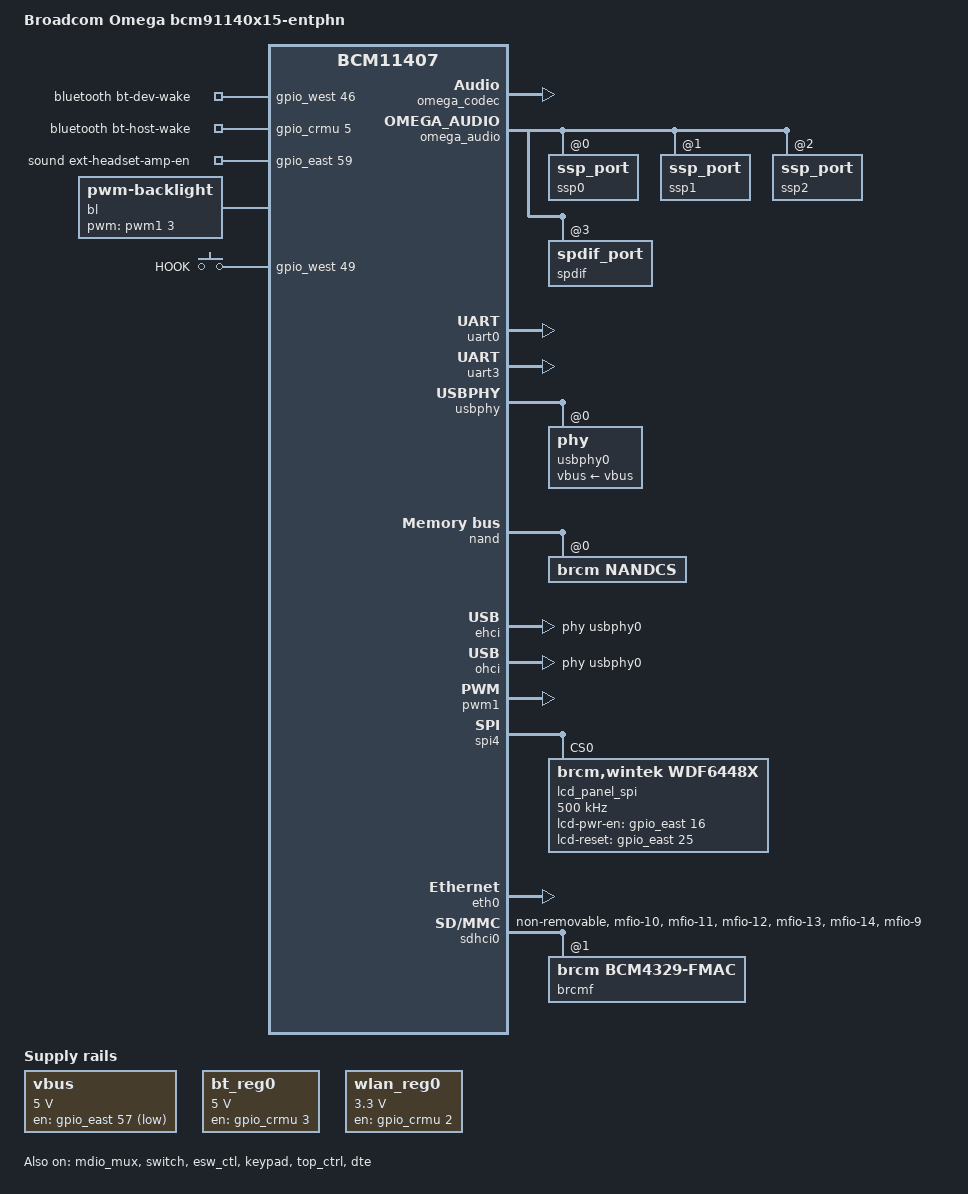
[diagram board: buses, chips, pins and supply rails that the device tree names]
// SPDX-License-Identifier: (GPL-2.0 or BSD-3-Clause)
/*
 *  Copyright(c) 2018 Broadcom
 */

/dts-v1/;

#include "omega-base-board.dtsi"
#include "bcm11407.dtsi"
#include "dt-bindings/input/input.h"
#include "dt-bindings/pwm/pwm.h"
#include "wintek-lcd-panel.dtsi"

/ {
	model = "Broadcom Omega bcm91140x15-entphn";

	vbus: regulator@0 {
		compatible = "regulator-fixed";
		regulator-name = "usb-vbus-p0";
		regulator-min-microvolt = <5000000>;
		regulator-max-microvolt = <5000000>;
		gpio = <&gpio_east 57 0>;
		status = "okay";
	};

	bt_reg0: regulator@1 {
		compatible = "regulator-fixed";
		regulator-name = "bt-reg0";
		regulator-min-microvolt = <5000000>;
		regulator-max-microvolt = <5000000>;
		gpio = <&gpio_crmu 3 0>;
		enable-active-high;
	};

	wlan_reg0: regulator@2 {
		compatible = "regulator-fixed";
		regulator-name = "wlan-rf-reg0";
		regulator-min-microvolt = <3300000>;
		regulator-max-microvolt = <3300000>;
		gpio = <&gpio_crmu 2 0>;
		enable-active-high;
		regulator-always-on;
	};

	bluetooth {
		compatible = "brcm,bt-rfkill";
		brcm,rfkill-regulator = <&bt_reg0>;
		bt-dev-wake-gpio = <&gpio_west 46 0>;
		bt-host-wake-gpio = <&gpio_crmu 5 0>;
	};

	sound {
		compatible = "brcm,bcm91140x15_entphn-machine";
		status = "okay";

		/* Use gpio 110 to control amp */
		brcm,ext-headset-amp-en-gpio = <&gpio_east 59 0>;

		link0 {
			format = "dsp_a";
			bitclock-master = <&dailink0_master>;
			frame-master = <&dailink0_master>;

			cpu {
				sound-dai = <&omega_audio 2>;

				dai-tdm-slot-num = <8>;
				dai-tdm-slot-width = <32>;
				dai-tdm-slot-tx-mask = <1 1 1 1 0 0 0 0>;
				dai-tdm-slot-rx-mask = <1 1 1 1 0 0 0 0>;
			};

			dailink0_master: codec {
				sound-dai = <&omega_codec 0>;
			};
		};
	};

	bl: backlight {
		compatible = "pwm-backlight";
		pwms = <&pwm1 3 255000 PWM_POLARITY_INVERTED>;
		brightness-levels = <0 16 24 32 50 64 128 255>;
		default-brightness-level = <6>;
	};

	gpio_keys {
		compatible = "gpio-keys";
		#address-cells = <1>;
		#size-cells = <0>;

		hook {
			label = "HOOK";
			linux,code = <KEY_O>;
			gpios = <&gpio_west 49 0>;
		};
	};
};

&omega_codec {
	status = "okay";
};

&omega_audio {
	#sound-dai-cells = <1>;

	pinctrl-names = "default";
	pinctrl-0 = <&i2s0_pins>;

	ssp0: ssp_port@0 {
		status = "okay";
	};

	ssp1: ssp_port@1 {
		status = "okay";
	};

	ssp2: ssp_port@2 {
		status = "okay";
	};

	spdif: spdif_port@3 {
		status = "okay";
	};
};

&uart0 {
	clock-frequency = <25000000>;
	status = "okay";
};

&uart3 {
	status = "okay";
};

&usbphy {
	status = "okay";
	usbphy0: phy@0 {
		#phy-cells = <0>;
		reg = <0>;
		vbus-supply = <&vbus>;
	};
};

&nand {
	nandcs@0 {
		compatible = "brcm,nandcs";
		reg = <0>;
		nand-ecc-mode = "hw";
		nand-ecc-strength = <8>;
		nand-ecc-step-size = <512>;
		nand-bus-width = <8>;
		brcm,nand-oob-sector-size = <16>;
		#address-cells = <1>;
		#size-cells = <1>;
	};
};

&mdio_mux {
	status = "okay";
};

&ehci {
	phys = <&usbphy0>;
	phy-names = "usbp0";
	status = "okay";
};

&ohci {
	phys = <&usbphy0>;
	phy-names = "usbp0";
	status = "okay";
};

&clcd {
	pinctrl-names = "default";
	pinctrl-0 = <&lcd_18bit_pins>;
};

&pwm1 {
	status = "okay";
	pinctrl-names = "default";
	pinctrl-0 = <&pwm1_mfio081_pins>;
};

&spi4 {
	status = "okay";
	num-cs = <1>;
	pinctrl-names = "default";
	pinctrl-0 = <&spi4_mfio066_pins>;
	dmas = <&dma0 17>, <&dma0 16>;
	dma-names = "tx", "rx";

	lcd_panel_spi@0 {
		compatible = "brcm,wintek,wdf6448x";
		reg = <0>;
		spi-max-frequency = <500000>;
		pl022,com-mode = <0x2>;
		lcd-pwr-en-gpio = <&gpio_east 16 0>;
		lcd-reset-gpio = <&gpio_east 25 0>;
		lcd-init-sequence = /bits/ 16
				<0x0203 0x06c2 0x0a11 0x0e8c
				0x128b 0x1622 0x1a00 0x1e30
				0x2208 0x2640 0x2a88 0x2e88
				0x3220 0x3620 0x8203 0x86c2
				0x8a11 0x8e8c 0x928b 0x9622
				0x9a00 0x9e30 0xa208 0xa640
				0xaa88 0xae88 0xb220 0xb620>;
	};
};

&eth0 {
	status = "okay";
};

&switch {
	compatible = "brcm,bcm11407-srab", "brcm,omega-srab";
	status = "okay";
	ports {
		#address-cells = <1>;
		#size-cells = <0>;
		port@0 {
			reg = <0>;
			label = "pc";
			phy-handle = <&gphy0>;
			phy-mode = "gmii";
		};
		port@1 {
			reg = <1>;
			label = "lan";
			phy-handle = <&gphy1>;
			phy-mode = "gmii";
		};
	};
};

&esw_ctl {
	status = "okay";
};

&keypad {
	keypad,num-rows = <5>;
	keypad,num-columns = <5>;
	pull-up-enabled;
	col-debounce-filter-period = <0>;
	status-debounce-filter-period = <0>;
	row-output-enabled;
	status = "okay";

	linux,keymap = <
		MATRIX_KEY(0x00, 0x02, KEY_F) /* key_forward */
		MATRIX_KEY(0x00, 0x03, KEY_HOME) /* key_home */
		MATRIX_KEY(0x00, 0x04, KEY_M) /* key_message */
		MATRIX_KEY(0x01, 0x00, KEY_A) /* key_contacts */
		MATRIX_KEY(0x01, 0x01, KEY_1) /* key_1 */
		MATRIX_KEY(0x01, 0x02, KEY_2) /* key_2 */
		MATRIX_KEY(0x01, 0x03, KEY_3) /* key_3 */
		MATRIX_KEY(0x01, 0x04, KEY_S) /* key_speaker */
		MATRIX_KEY(0x02, 0x00, KEY_P) /* key_phone */
		MATRIX_KEY(0x02, 0x01, KEY_4) /* key_4 */
		MATRIX_KEY(0x02, 0x02, KEY_5) /* key_5 */
		MATRIX_KEY(0x02, 0x03, KEY_6) /* key_6 */
		MATRIX_KEY(0x02, 0x04, KEY_VOLUMEUP) /* key_vol_up */
		MATRIX_KEY(0x03, 0x00, KEY_C) /* key_call_log */
		MATRIX_KEY(0x03, 0x01, KEY_7) /* key_7 */
		MATRIX_KEY(0x03, 0x02, KEY_8) /* key_8 */
		MATRIX_KEY(0x03, 0x03, KEY_9) /* key_9 */
		MATRIX_KEY(0x03, 0x04, KEY_VOLUMEDOWN) /* key_vol_down */
		MATRIX_KEY(0x04, 0x00, KEY_H) /* key_headset */
		MATRIX_KEY(0x04, 0x01, KEY_KPASTERISK) /* key_* */
		MATRIX_KEY(0x04, 0x02, KEY_0) /* key_0 */
		MATRIX_KEY(0x04, 0x03, KEY_GRAVE) /* key_# */
		MATRIX_KEY(0x04, 0x04, KEY_MUTE) /* key_mute */
	>;
};

&gpio_east {
	/*
	 * East controller starts at 51, so add 51 to get real mfio pin.
	 * Enable slew rate and hysteresis on SDIO CLK, CMD and DATA lines.
	 * Enable pull-up on SDIO CMD and DATA lines.
	 */

	sdio_mfio61_65_pad_ctrl: sdio_mfio61_65_pad {
		pins = "mfio-10", "mfio-11", "mfio-12", "mfio-13", "mfio-14";
		bias-pull-up;
		slew-rate = <1>;
		input-schmitt-enable;
	};

	sdio_mfio60_pad_ctrl: sdio_mfio60_pad {
		pins = "mfio-9";
		slew-rate = <1>;
		input-schmitt-enable;
	};
};

&sdhci0 {
	status = "okay";
	keep-power-in-suspend;
	wakeup-source;
	non-removable;
	no-1-8-v;


	pinctrl-names = "default";
	pinctrl-0 = <&sdio0_4bit_mode_pins &sdio_mfio61_65_pad_ctrl
		     &sdio_mfio60_pad_ctrl>;

	brcmf: bcrmf@1 {
		reg = <1>;
		compatible = "brcm,bcm4329-fmac";
		status = "okay";
	};
};

&top_ctrl {
	brcm,omega-key-row-mux = <0x0 0x1 0x2 0x3 0x4>;
	brcm,omega-key-col-mux = <0x5 0x6 0x7 0x8 0x9>;
	status = "okay";
};

&dte {
	status = "okay";
};

